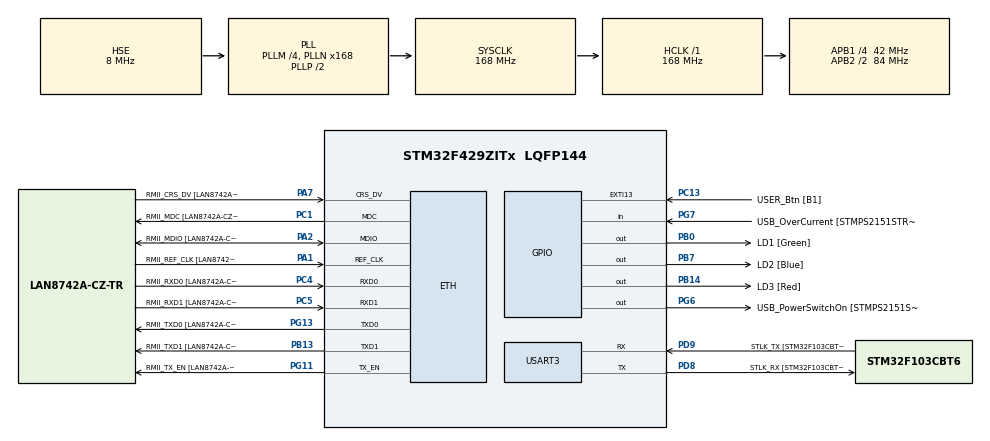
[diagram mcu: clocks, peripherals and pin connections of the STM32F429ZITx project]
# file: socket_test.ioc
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ETH.MediaInterface=ETH_MEDIA_INTERFACE_RMII
ETH.PHY_Name=LAN8742A_PHY_ADDRESS
ETH.PHY_Value=0
ETH.PhyAddress=0
FREERTOS.Tasks01=defaultTask,24,512,StartDefaultTask,Default,NULL,Dynamic,NULL,NULL
FREERTOS.configGENERATE_RUN_TIME_STATS=1
FREERTOS.configTOTAL_HEAP_SIZE=61440
FREERTOS.configUSE_STATS_FORMATTING_FUNCTIONS=1
LWIP.LWIP_HTTPD=1
LWIP.LWIP_HTTPD_SSI=1
LWIP.Version=v2.1.2_Cube
Mcu.Family=STM32F4
Mcu.Name=STM32F429ZITx
Mcu.Package=LQFP144
NVIC.ETH_IRQn=true\:10\:0\:true\:false\:true\:false\:false\:true
NVIC.PriorityGroup=NVIC_PRIORITYGROUP_4
NVIC.TIM1_UP_TIM10_IRQn=true\:0\:0\:false\:false\:true\:false\:false\:true
NVIC.TimeBase=TIM1_UP_TIM10_IRQn
NVIC.TimeBaseIP=TIM10
PA1.GPIO_Label=RMII_REF_CLK [LAN8742A-CZ-TR_REFCLK0]
PA1.Mode=RMII
PA1.Signal=ETH_REF_CLK
PA13.GPIO_Label=TMS
PA13.Mode=Serial_Wire
PA13.Signal=SYS_JTMS-SWDIO
PA14.GPIO_Label=TCK
PA14.Mode=Serial_Wire
PA14.Signal=SYS_JTCK-SWCLK
PA2.GPIO_Label=RMII_MDIO [LAN8742A-CZ-TR_MDIO]
PA2.Mode=RMII
PA2.Signal=ETH_MDIO
PA7.GPIO_Label=RMII_CRS_DV [LAN8742A-CZ-TR_CRS_DV]
PA7.Mode=RMII
PA7.Signal=ETH_CRS_DV
PB0.GPIO_Label=LD1 [Green]
PB0.Signal=GPIO_Output
PB13.GPIO_Label=RMII_TXD1 [LAN8742A-CZ-TR_TXD1]
PB13.Mode=RMII
PB13.Signal=ETH_TXD1
PB14.GPIO_Label=LD3 [Red]
PB14.Signal=GPIO_Output
PB7.GPIO_Label=LD2 [Blue]
PB7.Signal=GPIO_Output
PC1.GPIO_Label=RMII_MDC [LAN8742A-CZ-TR_MDC]
PC1.Mode=RMII
PC1.Signal=ETH_MDC
PC13.GPIO_Label=USER_Btn [B1]
PC13.Signal=GPXTI13
PC14/OSC32_IN.Mode=LSE-External-Oscillator
PC14/OSC32_IN.Signal=RCC_OSC32_IN
PC15/OSC32_OUT.Mode=LSE-External-Oscillator
PC15/OSC32_OUT.Signal=RCC_OSC32_OUT
PC4.GPIO_Label=RMII_RXD0 [LAN8742A-CZ-TR_RXD0]
PC4.Mode=RMII
PC4.Signal=ETH_RXD0
PC5.GPIO_Label=RMII_RXD1 [LAN8742A-CZ-TR_RXD1]
PC5.Mode=RMII
PC5.Signal=ETH_RXD1
PD8.GPIO_Label=STLK_RX [STM32F103CBT6_PA3]
PD8.Mode=Asynchronous
PD8.Signal=USART3_TX
PD9.GPIO_Label=STLK_TX [STM32F103CBT6_PA2]
PD9.Mode=Asynchronous
PD9.Signal=USART3_RX
PG11.GPIO_Label=RMII_TX_EN [LAN8742A-CZ-TR_TXEN]
PG11.Mode=RMII
PG11.Signal=ETH_TX_EN
PG13.GPIO_Label=RMII_TXD0 [LAN8742A-CZ-TR_TXD0]
PG13.Mode=RMII
PG13.Signal=ETH_TXD0
PG6.GPIO_Label=USB_PowerSwitchOn [STMPS2151STR_EN]
PG6.Signal=GPIO_Output
PG7.GPIO_Label=USB_OverCurrent [STMPS2151STR_FAULT]
PG7.Signal=GPIO_Input
PH0/OSC_IN.GPIO_Label=MCO [STM32F103CBT6_PA8]
PH0/OSC_IN.Mode=HSE-External-Clock-Source
PH0/OSC_IN.Signal=RCC_OSC_IN
PH1/OSC_OUT.Mode=HSE-External-Clock-Source
PH1/OSC_OUT.Signal=RCC_OSC_OUT
ProjectManager.HeapSize=0x2000
ProjectManager.StackSize=0x4000
ProjectManager.TargetToolchain=STM32CubeIDE
RCC.48MHZClocksFreq_Value=48000000
RCC.AHBFreq_Value=168000000
RCC.APB1CLKDivider=RCC_HCLK_DIV4
RCC.APB1Freq_Value=42000000
RCC.APB1TimFreq_Value=84000000
RCC.APB2CLKDivider=RCC_HCLK_DIV2
RCC.APB2Freq_Value=84000000
RCC.APB2TimCLKDivider=2
RCC.APB2TimFreq_Value=168000000
RCC.CortexFreq_Value=168000000
RCC.HCLKFreq_Value=168000000
RCC.HSE_VALUE=8000000
RCC.HSI_VALUE=16000000
RCC.PLLM=4
RCC.PLLMUL=RCC_PLL_MUL9
RCC.PLLN=168
RCC.PLLQ=7
RCC.PLLSourceVirtual=RCC_PLLSOURCE_HSE
RCC.PRESCALERUSB=RCC_USBCLKSOURCE_PLL_DIV1_5
RCC.SYSCLKFreq_VALUE=168000000
RCC.SYSCLKSource=RCC_SYSCLKSOURCE_PLLCLK
RCC.SYSCLKSourceVirtual=RCC_SYSCLKSOURCE_PLLCLK
RCC.USBFreq_Value=48000000
RCC.VCOOutputFreq_Value=336000000
USART3.VirtualMode=VM_ASYNC
VP_FREERTOS_VS_CMSIS_V2.Mode=CMSIS_V2
VP_LWIP_VS_Enabled.Mode=Enabled
VP_SYS_VS_tim10.Mode=TIM10
board=NUCLEO-F429ZI

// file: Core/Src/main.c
/* USER CODE BEGIN Header */
/**
 ******************************************************************************
 * @file           : main.c
 * @brief          : Main program body
 ******************************************************************************
 * @attention
 *
 * <h2><center>&copy; Copyright (c) 2021 STMicroelectronics.
 * All rights reserved.</center></h2>
 *
 * This software component is licensed by ST under BSD 3-Clause license,
 * the "License"; You may not use this file except in compliance with the
 * License. You may obtain a copy of the License at:
 *                        opensource.org/licenses/BSD-3-Clause
 *
 ******************************************************************************
 */
/* USER CODE END Header */
#include "main.h"
#include "cmsis_os.h"
#include "lwip.h"

/* USER CODE BEGIN Includes */
#include "httpd.h"
#include "ip4_addr.h"
#include "ip_addr.h"
#include "task_dhcp.h"
#include "task_uart.h"
#include "stdio.h"
#include "api.h"
/* USER CODE END Includes */

UART_HandleTypeDef huart3;

/* Definitions for defaultTask */
osThreadId_t defaultTaskHandle;
const osThreadAttr_t defaultTask_attributes = { .name = "defaultTask",
		.priority = (osPriority_t) osPriorityNormal, .stack_size = 512 * 4 };
/* USER CODE BEGIN PV */
extern struct netif gnetif;
/* USER CODE END PV */

void SystemClock_Config(void);
static void MX_GPIO_Init(void);
static void MX_USART3_UART_Init(void);
void StartDefaultTask(void *argument);

int main(void) {

	/* MCU Configuration--------------------------------------------------------*/

	/* Reset of all peripherals, Initializes the Flash interface and the Systick. */
	HAL_Init();

	/* Configure the system clock */
	SystemClock_Config();

	/* Initialize all configured peripherals */
	MX_GPIO_Init();
	MX_USART3_UART_Init();

	/* Init scheduler */
	osKernelInitialize();

	/* Create the thread(s) */
	/* creation of defaultTask */
	defaultTaskHandle = osThreadNew(StartDefaultTask, NULL,
			&defaultTask_attributes);

	/* Start scheduler */
	osKernelStart();

	/* We should never get here as control is now taken by the scheduler */
	/* Infinite loop */
	while (1) {

	}
}

void SystemClock_Config(void) {
	RCC_OscInitTypeDef RCC_OscInitStruct = { 0 };
	RCC_ClkInitTypeDef RCC_ClkInitStruct = { 0 };

	/** Configure the main internal regulator output voltage
	 */
	__HAL_RCC_PWR_CLK_ENABLE();
	__HAL_PWR_VOLTAGESCALING_CONFIG(PWR_REGULATOR_VOLTAGE_SCALE1);
	/** Initializes the RCC Oscillators according to the specified parameters
	 * in the RCC_OscInitTypeDef structure.
	 */
	RCC_OscInitStruct.OscillatorType = RCC_OSCILLATORTYPE_HSE;
	RCC_OscInitStruct.HSEState = RCC_HSE_BYPASS;
	RCC_OscInitStruct.PLL.PLLState = RCC_PLL_ON;
	RCC_OscInitStruct.PLL.PLLSource = RCC_PLLSOURCE_HSE;
	RCC_OscInitStruct.PLL.PLLM = 4;
	RCC_OscInitStruct.PLL.PLLN = 168;
	RCC_OscInitStruct.PLL.PLLP = RCC_PLLP_DIV2;
	RCC_OscInitStruct.PLL.PLLQ = 7;
	if (HAL_RCC_OscConfig(&RCC_OscInitStruct) != HAL_OK) {
		Error_Handler();
	}
	/** Initializes the CPU, AHB and APB buses clocks
	 */
	RCC_ClkInitStruct.ClockType = RCC_CLOCKTYPE_HCLK | RCC_CLOCKTYPE_SYSCLK
			| RCC_CLOCKTYPE_PCLK1 | RCC_CLOCKTYPE_PCLK2;
	RCC_ClkInitStruct.SYSCLKSource = RCC_SYSCLKSOURCE_PLLCLK;
	RCC_ClkInitStruct.AHBCLKDivider = RCC_SYSCLK_DIV1;
	RCC_ClkInitStruct.APB1CLKDivider = RCC_HCLK_DIV4;
	RCC_ClkInitStruct.APB2CLKDivider = RCC_HCLK_DIV2;

	if (HAL_RCC_ClockConfig(&RCC_ClkInitStruct, FLASH_LATENCY_5) != HAL_OK) {
		Error_Handler();
	}
}

static void MX_USART3_UART_Init(void) {

	huart3.Instance = USART3;
	huart3.Init.BaudRate = 115200;
	huart3.Init.WordLength = UART_WORDLENGTH_8B;
	huart3.Init.StopBits = UART_STOPBITS_1;
	huart3.Init.Parity = UART_PARITY_NONE;
	huart3.Init.Mode = UART_MODE_TX_RX;
	huart3.Init.HwFlowCtl = UART_HWCONTROL_NONE;
	huart3.Init.OverSampling = UART_OVERSAMPLING_16;
	if (HAL_UART_Init(&huart3) != HAL_OK) {
		Error_Handler();
	}

}

static void MX_GPIO_Init(void) {
	GPIO_InitTypeDef GPIO_InitStruct = { 0 };

	/* GPIO Ports Clock Enable */
	__HAL_RCC_GPIOC_CLK_ENABLE();
	__HAL_RCC_GPIOH_CLK_ENABLE();
	__HAL_RCC_GPIOA_CLK_ENABLE();
	__HAL_RCC_GPIOB_CLK_ENABLE();
	__HAL_RCC_GPIOD_CLK_ENABLE();
	__HAL_RCC_GPIOG_CLK_ENABLE();

	/*Configure GPIO pin Output Level */
	HAL_GPIO_WritePin(GPIOB, LD1_Pin | LD3_Pin | LD2_Pin, GPIO_PIN_RESET);

	/*Configure GPIO pin Output Level */
	HAL_GPIO_WritePin(USB_PowerSwitchOn_GPIO_Port, USB_PowerSwitchOn_Pin,
			GPIO_PIN_RESET);

	/*Configure GPIO pin : USER_Btn_Pin */
	GPIO_InitStruct.Pin = USER_Btn_Pin;
	GPIO_InitStruct.Mode = GPIO_MODE_IT_RISING;
	GPIO_InitStruct.Pull = GPIO_NOPULL;
	HAL_GPIO_Init(USER_Btn_GPIO_Port, &GPIO_InitStruct);

	/*Configure GPIO pins : LD1_Pin LD3_Pin LD2_Pin */
	GPIO_InitStruct.Pin = LD1_Pin | LD3_Pin | LD2_Pin;
	GPIO_InitStruct.Mode = GPIO_MODE_OUTPUT_PP;
	GPIO_InitStruct.Pull = GPIO_NOPULL;
	GPIO_InitStruct.Speed = GPIO_SPEED_FREQ_LOW;
	HAL_GPIO_Init(GPIOB, &GPIO_InitStruct);

	/*Configure GPIO pin : USB_PowerSwitchOn_Pin */
	GPIO_InitStruct.Pin = USB_PowerSwitchOn_Pin;
	GPIO_InitStruct.Mode = GPIO_MODE_OUTPUT_PP;
	GPIO_InitStruct.Pull = GPIO_NOPULL;
	GPIO_InitStruct.Speed = GPIO_SPEED_FREQ_LOW;
	HAL_GPIO_Init(USB_PowerSwitchOn_GPIO_Port, &GPIO_InitStruct);

	/*Configure GPIO pin : USB_OverCurrent_Pin */
	GPIO_InitStruct.Pin = USB_OverCurrent_Pin;
	GPIO_InitStruct.Mode = GPIO_MODE_INPUT;
	GPIO_InitStruct.Pull = GPIO_NOPULL;
	HAL_GPIO_Init(USB_OverCurrent_GPIO_Port, &GPIO_InitStruct);

}

/* USER CODE BEGIN 4 */
const static char http_html_hdr[] =
		"HTTP/1.1 200 OK\r\nContent-type: text/html\r\n\r\n";
const static char http_index_html[] =
		"<html><head><title>Congrats!</title></head><body><h1>Welcome to our lwIP HTTP server!</h1><p>This is a small test page, served by httpserver-netconn.</body></html>";

char task_desc_buf[256];

/** Serve one HTTP connection accepted in the http thread */
static void http_server_netconn_serve(struct netconn *conn) {
	struct netbuf *inbuf;
	char *buf;
	u16_t buflen;
	err_t err;

	/* Read the data from the port, blocking if nothing yet there.
	 We assume the request (the part we care about) is in one netbuf */
	err = netconn_recv(conn, &inbuf);

	if (err == ERR_OK) {
		netbuf_data(inbuf, (void**) &buf, &buflen);

		/* Is this an HTTP GET command? (only check the first 5 chars, since
		 there are other formats for GET, and we're keeping it very simple )*/
		if (buflen >= 5 && buf[0] == 'G' && buf[1] == 'E' && buf[2] == 'T'
				&& buf[3] == ' ' && buf[4] == '/') {

			/* Send the HTML header
			 * subtract 1 from the size, since we dont send the \0 in the string
			 * NETCONN_NOCOPY: our data is const static, so no need to copy it
			 */
			vTaskGetRunTimeStats(task_desc_buf); //TODO:
			netconn_write(conn, http_html_hdr, sizeof(http_html_hdr) - 1,
					NETCONN_NOCOPY);

			/* Send our HTML page */
			netconn_write(conn, http_index_html, sizeof(http_index_html) - 1,
					NETCONN_NOCOPY);
		}
	}
	/* Close the connection (server closes in HTTP) */
	netconn_close(conn);

	/* Delete the buffer (netconn_recv gives us ownership,
	 so we have to make sure to deallocate the buffer) */
	netbuf_delete(inbuf);
}

/* USER CODE END 4 */

void StartDefaultTask(void *argument) {
	/* init code for LWIP */
	MX_LWIP_Init();
	/* USER CODE BEGIN 5 */

	UartTaskInit(&huart3);
	StartDhcpTask();
	while (GetDhcpState() != DHCP_ADDRESS_ASSIGNED )
		osDelay(100);
	httpd_init();

	while (1) {
		osDelay(50);

		// raw sewer http, only for debug test
		struct netconn *conn, *newconn;
		err_t err;

		// Create a new TCP connection handle
		conn = netconn_new(NETCONN_TCP);
		LWIP_ERROR("http_server: invalid conn", (conn != NULL), return;);

		// Bind to port 80 (HTTP) with default IP address
		netconn_bind(conn, NULL, 443);

		// Put the connection into LISTEN state
		netconn_listen(conn);
		do {
			err = netconn_accept(conn, &newconn);
			if (err == ERR_OK) {
				http_server_netconn_serve(newconn);
				netconn_delete(newconn);
			}
		} while (err == ERR_OK);LWIP_DEBUGF(HTTPD_DEBUG,
				("http_server_netconn_thread: netconn_accept received error %d, shutting down",
						err));
		netconn_close(conn);
		netconn_delete(conn);

	}
	/* USER CODE END 5 */
}

void HAL_TIM_PeriodElapsedCallback(TIM_HandleTypeDef *htim) {
	if (htim->Instance == TIM10) {
		HAL_IncTick();
	}
}

void Error_Handler(void) {
}

/************************ (C) COPYRIGHT STMicroelectronics *****END OF FILE****/

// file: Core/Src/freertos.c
/* USER CODE BEGIN Header */
/**
  ******************************************************************************
  * File Name          : freertos.c
  * Description        : Code for freertos applications
  ******************************************************************************
  * @attention
  *
  * <h2><center>&copy; Copyright (c) 2021 STMicroelectronics.
  * All rights reserved.</center></h2>
  *
  * This software component is licensed by ST under Ultimate Liberty license
  * SLA0044, the "License"; You may not use this file except in compliance with
  * the License. You may obtain a copy of the License at:
  *                             www.st.com/SLA0044
  *
  ******************************************************************************
  */
/* USER CODE END Header */

#include "FreeRTOS.h"
#include "task.h"
#include "main.h"

/* Hook prototypes */
void configureTimerForRunTimeStats(void);
unsigned long getRunTimeCounterValue(void);

/* USER CODE BEGIN 1 */
/* Functions needed when configGENERATE_RUN_TIME_STATS is on */
__weak void configureTimerForRunTimeStats(void)
{

}

__weak unsigned long getRunTimeCounterValue(void)
{
	return 0;
}
/* USER CODE END 1 */

/************************ (C) COPYRIGHT STMicroelectronics *****END OF FILE****/
